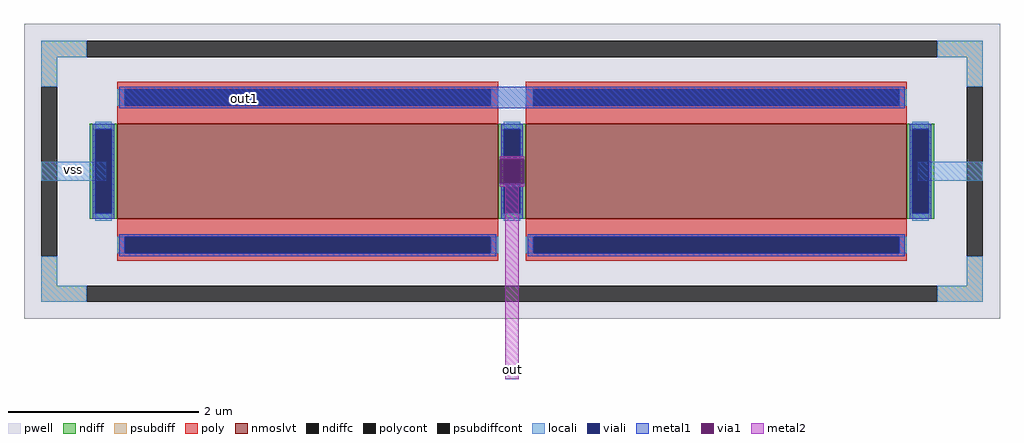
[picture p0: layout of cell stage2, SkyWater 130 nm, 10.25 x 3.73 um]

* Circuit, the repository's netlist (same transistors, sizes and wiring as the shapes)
* SPDX-License-Identifier: Apache-2.0
* Copyright 2026 Mauro Rodriguez Blasco
*
* Third layout exercise: the comparator's second stage XM6, two units of the mirror's unit
* (w=1 l=4) as one 2-finger device with its guard ring, so that it carries 1 uA at the same
* V_GS as XM4. Its errors reach the input divided by the first stage's gain (about 67): it
* needs no common centroid and no dummies. Diffusion columns: vss out vss, so that out, the
* node that swings rail to rail, has one shared column, half the junction of two outer ones.
* out1 enters on the gates' top contacts and out leaves downwards, on the opposite side.
* Guard ring (the body): vss. Reference for LVS (scripts/flow.py lvs stage2).
.subckt stage2 out1 out vss
XM6 out out1 vss vss sky130_fd_pr__nfet_01v8_lvt w=1 l=4 mult=2 m=2
.ends stage2

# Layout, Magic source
magic
tech sky130A
magscale 1 2
<< locali >>
rect -17 237 120 277
rect 1824 237 1961 277
<< metal1 >>
rect 147 389 1797 435
rect 946 283 998 289
rect 946 225 998 231
<< via1 >>
rect 946 231 998 283
<< metal2 >>
rect 946 283 998 289
rect 946 225 998 231
rect 958 -180 986 225
use sky130_fd_pr__nfet_01v8_lvt_V2W96S  XM
transform 1 0 972 0 1 257
box -1025 -310 1025 310
<< labels >>
flabel locali 40 250 60 270 0 FreeSans 3 0 0 0 vss
port 1 nsew
flabel metal1 400 400 420 420 0 FreeSans 3 0 0 0 out1
port 2 nsew
flabel metal2 964 -170 980 -150 0 FreeSans 3 0 0 0 out
port 3 nsew
<< end >>

# cell sky130_fd_pr__nfet_01v8_lvt_V2W96S: kit device sky130_fd_pr__nfet_01v8_lvt, w 1 l 4 m 1 nf 2 diffcov 100 polycov 100 guard 1 glc 1 grc 1 gtc 1 gbc 1 tbcov 100 rlcov 100 topc 1 botc 1 poverlap 0 doverlap 1 lmin 0.15 wmin 0.42 class mosfet compatible {sky130_fd_pr__nfet_01v8 sky130_fd_pr__nfet_01v8_lvt sky130_fd_bs_flash__special_sonosfet_star sky130_fd_pr__nfet_g5v0d10v5 sky130_fd_pr__nfet_05v0_nvt sky130_fd_pr__nfet_03v3_nvt} full_metal 1 conn_gates 0 viasrc 100 viadrn 100 viagate 100 viagb 0 viagr 0 viagl 0 viagt 0 doports 1
